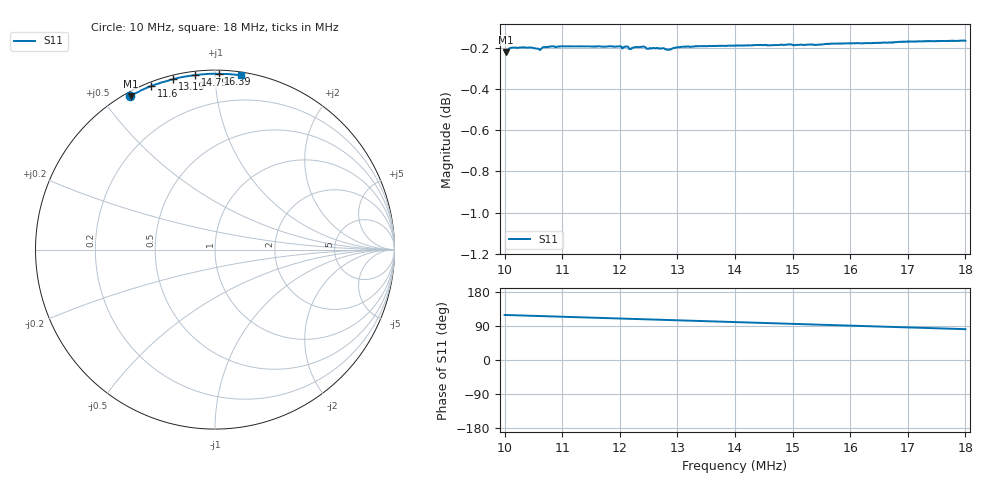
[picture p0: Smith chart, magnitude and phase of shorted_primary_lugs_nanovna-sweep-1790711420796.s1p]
! NanoVNA Web complex sweep
! Processing: unaveraged complex samples; linear segment spacing; no smoothing
# Hz S RI R 50
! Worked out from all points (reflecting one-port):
!   1010 points, 10 MHz to 18 MHz, reference 50 ohm
!   lowest |S11| = -0.2 dB at 10.02 MHz (marker M1), VSWR 78.98, Z = 0.855 + j29.6 ohm
!   phase of S11 starts at 119 deg and turns -37 deg over the sweep
!   S11 on the Smith chart (normalised r, x): 10 MHz: 0.02, +0.59; 11.6 MHz: 0.02, +0.68; 13.19 MHz: 0.02, +0.78; 14.79 MHz: 0.02, +0.89; 16.39 MHz: 0.02, +1.02; 18 MHz: 0.02, +1.16
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1e7  -0.4709 0.8548
1.001586e7  -0.4694 0.8546
1.011894e7  -0.4636 0.8604
1.029337e7  -0.4516 0.867
1.06026e7  -0.429 0.877
1.070568e7  -0.4222 0.8818
1.100698e7  -0.4006 0.8924
1.160166e7  -0.3565 0.9109
1.200604e7  -0.3259 0.9222
1.219633e7  -0.3109 0.9258
1.240249e7  -0.2963 0.9321
1.250556e7  -0.2872 0.9336
1.27355e7  -0.2697 0.9391
1.285444e7  -0.2602 0.941
1.300509e7  -0.249 0.9453
1.318746e7  -0.2349 0.9494
1.358391e7  -0.204 0.9568
1.400414e7  -0.1708 0.9636
1.439267e7  -0.1401 0.9688
1.478912e7  -0.1087 0.9729
1.50032e7  -0.0916 0.9746
1.562166e7  -0.0422 0.9786
1.600225e7  -0.0116 0.9796
1.639077e7  0.0197 0.9797
1.700131e7  0.0683 0.9782
1.73819e7  0.0984 0.9761
1.796072e7  0.1441 0.9706
1.800036e7  0.1473 0.9701
